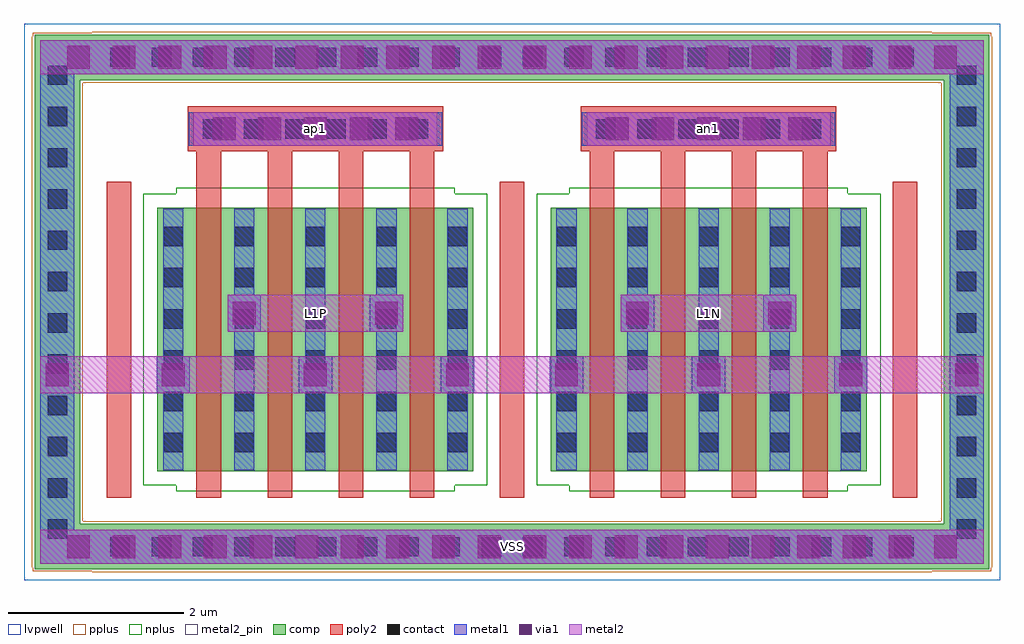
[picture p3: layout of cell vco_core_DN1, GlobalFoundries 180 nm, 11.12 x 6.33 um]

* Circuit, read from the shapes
.subckt vco_core_DN1 L1N L1P VSS an1 ap1
XM1 L1P ap1 VSS VSS nfet_03v3 w=3u l=0.28u m=4
XM2 L1N an1 VSS VSS nfet_03v3 w=3u l=0.28u m=4
.ends

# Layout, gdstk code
import gdstk
lib = gdstk.Library(unit=1e-6, precision=1e-09)
def R(c, l, rs):  # rectangles x0, y0, x1, y1
    for r in rs: c.add(gdstk.rectangle(r[:2], r[2:], *l))
def A(c, l, x, y, w, h, nx, ny, dx, dy):  # array of equal rectangles
    R(c, l, [(x+i*dx, y+j*dy, x+i*dx+w, y+j*dy+h) for i in range(nx) for j in range(ny)])
comp = (22, 0)
poly2 = (30, 0)
pplus = (31, 0)
nplus = (32, 0)
contact = (33, 0)
metal1 = (34, 0)
via1 = (35, 0)
metal2 = (36, 0)
metal2_pin = (36, 10)
lvpwell = (204, 0)

vco_core_dn1 = lib.new_cell('vco_core_DN1')
R(vco_core_dn1, comp, [(-1.4,-0.82,9.48,-0.3), (-1.4,-0.3,-0.88,4.755), (8.96,-0.3,9.48,4.755), (0,0.3,3.6,3.3), (4.48,0.3,8.08,3.3), (-1.4,4.755,9.48,5.275)])
A(vco_core_dn1, poly2, -0.58, 0, 0.28, 3.6, 3, 1, 4.48, 0)
A(vco_core_dn1, poly2, 0.445, 0, 0.28, 3.945, 4, 1, 0.81, 0)
A(vco_core_dn1, poly2, 4.925, 0, 0.28, 3.945, 4, 1, 0.81, 0)
R(vco_core_dn1, poly2, [(0.345,3.945,3.255,4.455), (4.825,3.945,7.735,4.455)])
R(vco_core_dn1, pplus, [(-0.74,-0.85,8.82,-0.84), (-1.42,-0.84,9.5,-0.795), (-1.43,-0.795,9.51,-0.27), (-1.43,-0.27,-0.85,4.725), (8.93,-0.27,9.51,4.725), (-1.43,4.725,9.51,5.25), (-1.42,5.25,9.5,5.295), (-0.74,5.295,8.82,5.305)])
R(vco_core_dn1, nplus, [(0.215,0.07,3.385,0.14), (4.695,0.07,7.865,0.14), (-0.16,0.14,3.76,3.46), (4.32,0.14,8.24,3.46), (0.215,3.46,3.385,3.53), (4.695,3.46,7.865,3.53)])
A(vco_core_dn1, contact, -0.535, -0.67, 0.22, 0.22, 20, 2, 0.47, 5.575)
A(vco_core_dn1, contact, -1.25, -0.47, 0.22, 0.22, 1, 12, 0, 0.47)
A(vco_core_dn1, contact, 9.11, -0.47, 0.22, 0.22, 1, 12, 0, 0.47)
A(vco_core_dn1, contact, 0.07, 0.515, 0.22, 0.22, 5, 6, 0.81, 0.47)
A(vco_core_dn1, contact, 4.55, 0.515, 0.22, 0.22, 5, 6, 0.81, 0.47)
A(vco_core_dn1, contact, 0.515, 4.09, 0.22, 0.22, 6, 1, 0.47, 0)
A(vco_core_dn1, contact, 4.995, 4.09, 0.22, 0.22, 6, 1, 0.47, 0)
A(vco_core_dn1, metal1, 0.065, 0.31, 0.23, 0.88, 3, 1, 1.62, 0)
A(vco_core_dn1, metal1, 4.545, 0.31, 0.23, 0.88, 3, 1, 1.62, 0)
A(vco_core_dn1, metal1, -0.01, 1.19, 0.38, 0.42, 3, 1, 1.62, 0)
A(vco_core_dn1, metal1, 4.47, 1.19, 0.38, 0.42, 3, 1, 1.62, 0)
A(vco_core_dn1, metal1, 0.065, 1.61, 0.23, 1.68, 3, 1, 1.62, 0)
A(vco_core_dn1, metal1, 4.545, 1.61, 0.23, 1.68, 3, 1, 1.62, 0)
R(vco_core_dn1, metal1, [(-1.335,-0.755,9.415,-0.365), (-1.335,-0.365,-0.945,4.82), (9.025,-0.365,9.415,4.82), (0.875,0.31,1.105,1.89), (2.495,0.31,2.725,1.89), (5.355,0.31,5.585,1.89), (6.975,0.31,7.205,1.89), (0.8,1.89,1.18,2.31), (2.42,1.89,2.8,2.31), (5.28,1.89,5.66,2.31), (6.9,1.89,7.28,2.31), (0.875,2.31,1.105,3.29), (2.495,2.31,2.725,3.29), (5.355,2.31,5.585,3.29), (6.975,2.31,7.205,3.29), (0.355,4.01,3.245,4.39), (4.835,4.01,7.725,4.39), (-1.335,4.82,9.415,5.21)])
A(vco_core_dn1, via1, -1.03, -0.69, 0.26, 0.26, 20, 2, 0.52, 5.575)
A(vco_core_dn1, via1, 0.05, 1.27, 0.26, 0.26, 3, 1, 1.62, 0)
A(vco_core_dn1, via1, 4.53, 1.27, 0.26, 0.26, 3, 1, 1.62, 0)
A(vco_core_dn1, via1, 0.63, 4.07, 0.26, 0.26, 5, 1, 0.52, 0)
A(vco_core_dn1, via1, 5.11, 4.07, 0.26, 0.26, 5, 1, 0.52, 0)
R(vco_core_dn1, via1, [(-1.27,1.27,-1.01,1.53), (9.09,1.27,9.35,1.53), (0.86,1.97,1.12,2.23), (2.48,1.97,2.74,2.23), (5.34,1.97,5.6,2.23), (6.96,1.97,7.22,2.23)])
R(vco_core_dn1, metal2, [(-1.335,-0.755,9.415,-0.365), (-1.335,1.19,9.415,1.61), (0.8,1.89,2.8,2.31), (5.28,1.89,7.28,2.31), (0.41,4.01,3.19,4.39), (4.89,4.01,7.67,4.39), (-1.335,4.82,9.415,5.21)])
R(vco_core_dn1, metal2_pin, [(-1.335,-0.755,9.415,-0.365), (0.8,1.89,2.8,2.31), (5.28,1.89,7.28,2.31), (0.41,4.01,3.19,4.39), (4.89,4.01,7.67,4.39)])
R(vco_core_dn1, lvpwell, [(-1.52,-0.94,9.6,5.395)])
vco_core_dn1.add(gdstk.Label('L1P', (1.8,2.1), layer=36, texttype=10))
vco_core_dn1.add(gdstk.Label('ap1', (1.8,4.2), layer=36, texttype=10))
vco_core_dn1.add(gdstk.Label('L1N', (6.28,2.1), layer=36, texttype=10))
vco_core_dn1.add(gdstk.Label('an1', (6.28,4.2), layer=36, texttype=10))
vco_core_dn1.add(gdstk.Label('VSS', (4.04,-0.56), layer=36, texttype=10))

lib.write_gds('vco_core_DN1.gds')
